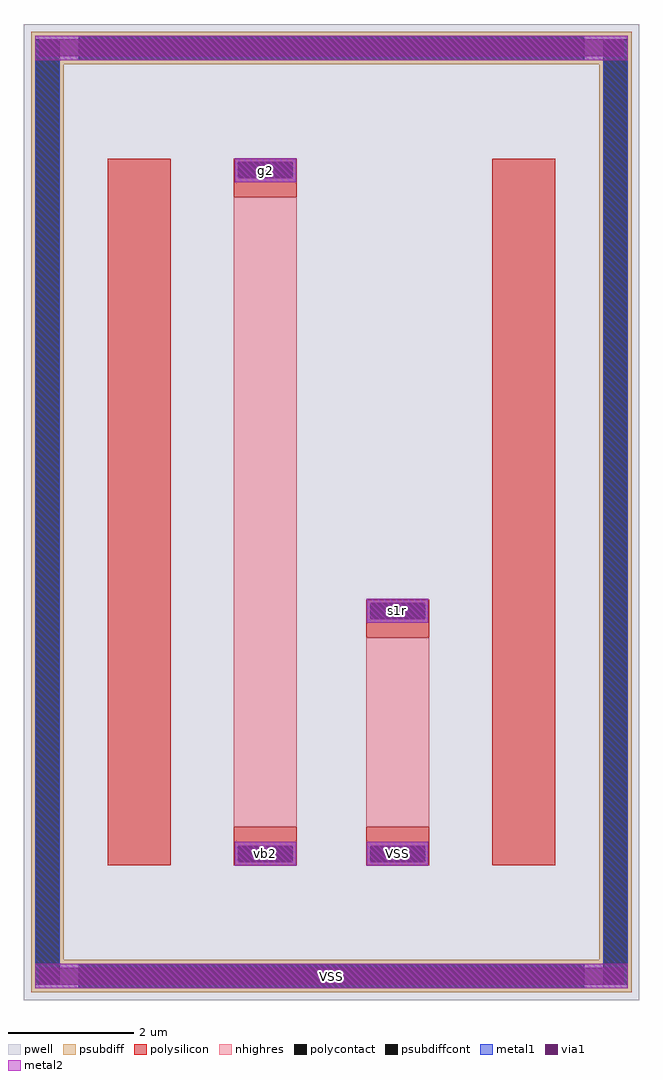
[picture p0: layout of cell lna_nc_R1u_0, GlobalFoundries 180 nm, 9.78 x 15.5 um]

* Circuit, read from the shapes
.subckt lna_nc_R1u_0 vb2 g2 VSS s1r
XR1 g2 vb2 VSS ppolyf_u_1k r_width=1u r_length=10u
XR2 s1r VSS VSS ppolyf_u_1k r_width=1u r_length=3u
.ends

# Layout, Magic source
magic
tech gf180mcuD
magscale 1 10
<< pwell >>
rect -768 -464 1188 2636
<< psubdiff >>
rect -744 -440 1164 -336
rect -744 2508 1164 2612
rect -744 -336 -640 2508
rect 1060 -336 1164 2508
<< polysilicon >>
rect -100 2086 100 2208
rect -100 -36 100 86
rect 320 686 520 808
rect 320 -36 520 86
rect -500 -36 -300 2208
rect 720 -36 920 2208
<< nhighres >>
rect -100 86 100 2086
rect 320 86 520 686
<< psubdiffcont >>
rect -731 -416 -653 2588
rect 1073 -416 1151 2588
rect -593 2521 1013 2599
rect -593 -427 1013 -349
<< polycontact >>
rect -87 2149 87 2195
rect -87 -23 87 23
rect 333 749 507 795
rect 333 -23 507 23
<< metal1 >>
rect -98 2149 98 2195
rect -98 -23 98 23
rect 322 749 518 795
rect 322 -23 518 23
rect -98 -38 98 38
rect -98 2134 98 2210
rect 322 -38 518 38
rect 322 734 518 810
rect -731 -427 1151 -349
rect -731 2521 1151 2599
rect -731 -427 -653 2599
rect 1073 -427 1151 2599
rect -731 -427 1151 -349
rect -731 2521 1151 2599
<< metal2 >>
rect -98 -38 98 38
rect -98 2134 98 2210
rect 322 -38 518 38
rect 322 734 518 810
rect -731 -427 1151 -349
rect -731 2521 1151 2599
<< via1 >>
rect -86 -26 86 26
rect -86 2146 86 2198
rect 334 -26 506 26
rect 334 746 506 798
rect -719 -415 1139 -361
rect -719 2533 1139 2587
<< labels >>
flabel metal2 s -98 -38 98 38 0 FreeSans 80 0 0 0 vb2
port 1 nsew signal bidirectional
flabel metal2 s -98 2134 98 2210 0 FreeSans 80 0 0 0 g2
port 2 nsew signal bidirectional
flabel metal2 s 322 -38 518 38 0 FreeSans 80 0 0 0 VSS
port 3 nsew signal bidirectional
flabel metal2 s 322 734 518 810 0 FreeSans 80 0 0 0 s1r
port 4 nsew signal bidirectional
flabel metal2 s -731 -427 1151 -349 0 FreeSans 80 0 0 0 VSS
port 3 nsew signal bidirectional
<< end >>
